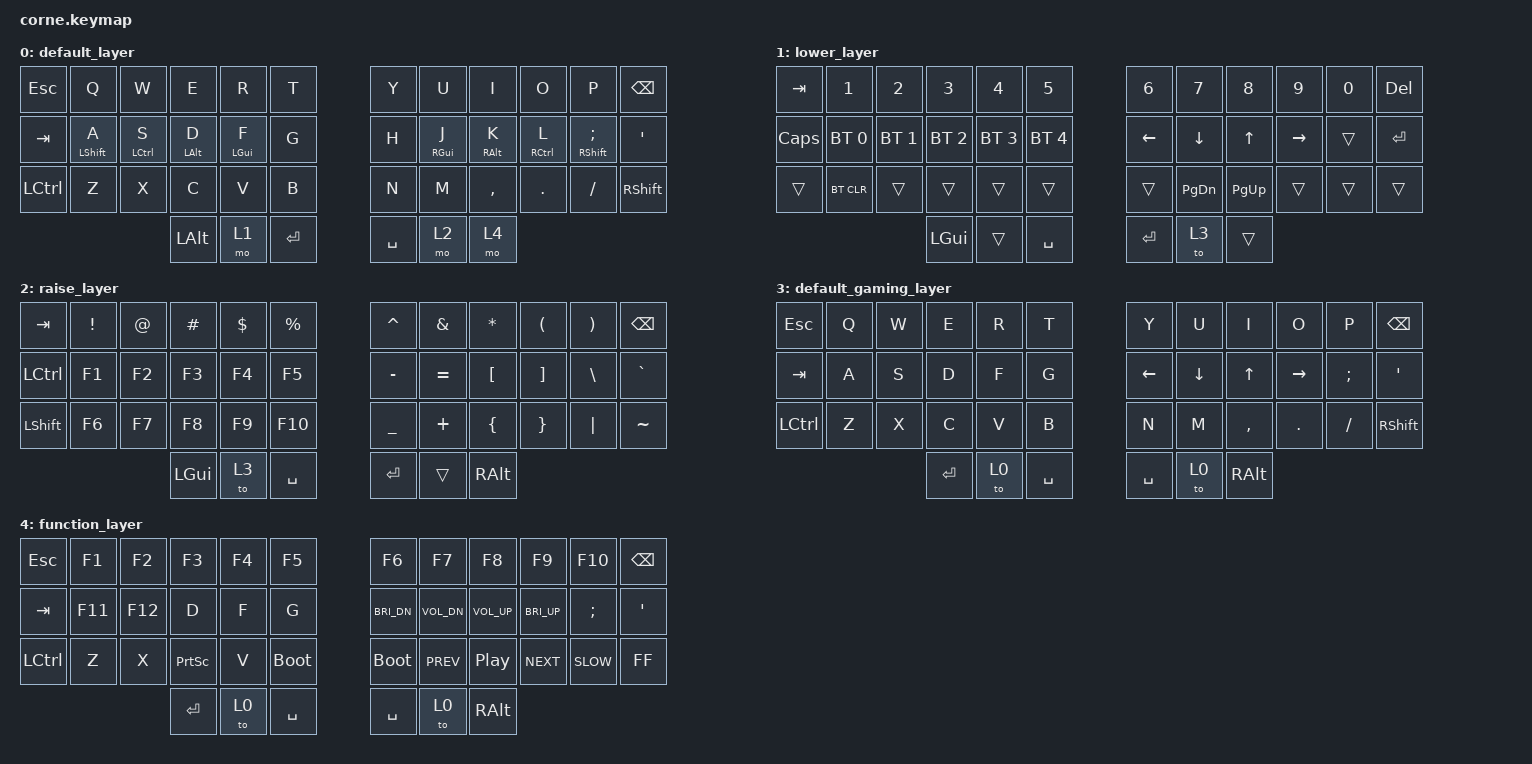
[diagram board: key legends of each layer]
/*
 * Copyright (c) 2020 The ZMK Contributors
 *
 * SPDX-License-Identifier: MIT
 */

#include <behaviors.dtsi>
#include <dt-bindings/zmk/keys.h>
#include <dt-bindings/zmk/bt.h>

/ {
	behaviors {
        hm: homerow_mods {
            compatible = "zmk,behavior-hold-tap";
            #binding-cells = <2>;
            tapping-term-ms = <300>;
            quick-tap-ms = <0>;
            flavor = "tap-preferred";
            bindings = <&kp>, <&kp>;
        };
    };
        keymap {
                compatible = "zmk,keymap";

                default_layer {
// -----------------------------------------------------------------------------------------
// |  ESC |  Q  |  W  |  E  |  R  |  T  |   |  Y  |  U   |  I  |  O  |  P  | BSPC |
// | TAB  |  A  |  S  |  D  |  F  |  G  |   |  H  |  J   |  K  |  L  |  ;  |  '   |
// | CTRL |  Z  |  X  |  C  |  V  |  B  |   |  N  |  M   |  ,  |  .  |  /  | SHFT |
//                    | LALT| LWR | RET |   | SPC | RSE  | ALT |
                        bindings = <
   &kp ESC   &kp Q &kp W &kp E &kp R &kp T   &kp Y &kp U  &kp I     &kp O   &kp P    &kp BSPC
   &kp TAB   &hm LSHIFT A &hm LCTRL S &hm LALT D &hm LGUI F &kp G   &kp H &hm RGUI J  &hm RALT K &hm RCTRL L &hm RSHIFT SEMI &kp SQT
   &kp LCTRL &kp Z &kp X &kp C &kp V &kp B   &kp N &kp M  &kp COMMA &kp DOT &kp FSLH &kp RSHFT
                  &kp LALT &mo 1 &kp RET   &kp SPACE &mo 2 &mo 4
                        >;
                };
                lower_layer {
// -----------------------------------------------------------------------------------------
// |  TAB |  1  |  2  |  3  |  4  |  5  |   |  6  |  7  |  8  |  9  |  0  | DEL  |
// | CAPS | BT1 | BT2 | BT3 | BT4 | BT5 |   | LFT | DWN |  UP | RGT |     | RET  |
// | SHFT |BTCLR|     |     |     |     |   |     |     |     |     |     |      |
//                    | GUI |     | SPC |   | ENT |     | ALT |
                        bindings = <
   &kp TAB    &kp N1       &kp N2       &kp N3       &kp N4       &kp N5         &kp N6		&kp N7    &kp N8    &kp N9    &kp N0      &kp DEL
   &kp CAPS   &bt BT_SEL 0 &bt BT_SEL 1 &bt BT_SEL 2 &bt BT_SEL 3 &bt BT_SEL 4   &kp LEFT	&kp DOWN  &kp UP    &kp RIGHT &trans      &kp RET
   &trans     &bt BT_CLR   &trans  &trans &trans &trans      &trans 	&kp PG_DN &kp PG_UP &trans    &trans      &trans
                                    &kp LGUI     &trans  &kp SPACE      &kp RET  &to 3   &trans
                        >;
                };

                raise_layer {
// -----------------------------------------------------------------------------------------
// |  TAB |  !  |  @  |  #  |  $  |  %  |   |  ^  |  &  |  *  |  (  |  )  | BSPC |
// | CTRL |     |     |     |     |     |   |  -  |  =  |  [  |  ]  |  \  |  `   |
// | SHFT |     |     |     |     |     |   |  _  |  +  |  {  |  }  | "|" |  ~   |
//                    | GUI |     | SPC |   | ENT |     | ALT |
                        bindings = <
   &kp  TAB  &kp EXCL &kp AT &kp HASH &kp DLLR &kp PRCNT   &kp CARET &kp AMPS  &kp ASTRK &kp LPAR &kp RPAR &kp BSPC
   &kp LCTRL &kp F1   &kp F2 &kp F3   &kp F4   &kp F5      &kp MINUS &kp EQUAL &kp LBKT  &kp RBKT &kp BSLH &kp GRAVE
   &kp LSHFT &kp F6   &kp F7 &kp F8   &kp F9   &kp F10     &kp UNDER &kp PLUS  &kp LBRC  &kp RBRC &kp PIPE &kp TILDE
                             &kp LGUI &to 3   &kp SPACE   &kp RET   &trans    &kp RALT
                        >;
                };

                default_gaming_layer {
// -----------------------------------------------------------------------------------------
// |  ESC |  Q  |  W  |  E  |  R  |  T  |   |  Y  |  U   |  I  |  O  |  P  | BSPC |
// | TAB  |  A  |  S  |  D  |  F  |  G  |   |  H  |  J   |  K  |  L  |  ;  |  '   |
// | CTRL |  Z  |  X  |  C  |  V  |  B  |   |  N  |  M   |  ,  |  .  |  /  | SHFT |
//                    | LALT| LWR | RET |   | SPC | RSE  | ALT |
                        bindings = <
   &kp ESC   &kp Q &kp W &kp E &kp R &kp T   &kp Y &kp U  &kp I     &kp O   &kp P    &kp BSPC
   &kp TAB   &kp A &kp S &kp D &kp F &kp G   &kp LEFT &kp DOWN &kp UP &kp RIGHT &kp SEMI &kp SQT
   &kp LCTRL &kp Z &kp X &kp C &kp V &kp B   &kp N &kp M  &kp COMMA &kp DOT &kp FSLH &kp RSHFT
                  &kp RET &to 0 &kp SPACE   &kp SPACE &to 0 &kp RALT
                        >;
                };
			                function_layer {
                        bindings = <
   &kp ESC   &kp F1 &kp F2 &kp F3 &kp F4 &kp F5    &kp F6 &kp F7  &kp F8 &kp F9 &kp F10 &kp BSPC
   &kp TAB   &kp F11 &kp F12 &kp D &kp F &kp G     &kp C_BRI_DN &kp C_VOL_DN &kp C_VOL_UP &kp C_BRI_UP &kp SEMI &kp SQT
   &kp LCTRL &kp Z &kp X &kp PSCRN &kp V &bootloader   &bootloader &kp C_PREV &kp C_PP &kp C_NEXT &kp C_SLOW &kp C_FF
                  &kp RET &to 0 &kp SPACE   	   &kp SPACE &to 0 &kp RALT
                        >;
                };


        };
};
